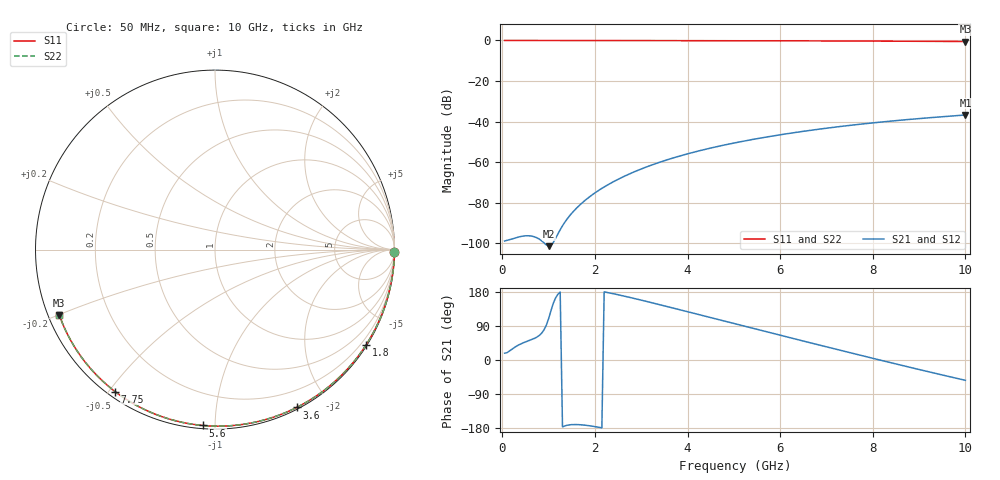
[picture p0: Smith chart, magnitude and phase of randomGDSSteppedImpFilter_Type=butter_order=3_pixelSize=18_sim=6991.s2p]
! freq	dB(S11)	phase(S11)	dB(S12)	phase(S12)
!  dB(S21)	phase(S21)	dB(S22)	phase(S22)
!S-par simulation data
#  GHz  S  DB  R 50
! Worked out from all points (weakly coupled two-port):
!   200 points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, 50 MHz to 10 GHz, reference 50 ohm
!   highest |S21| = -36.71 dB at 10 GHz (marker M1); lowest = -101.3 dB at 1 GHz (marker M2)
!   lowest |S11| = -0.5 dB at 10 GHz (marker M3), VSWR 32.88, Z = 1.58 - j10.1 ohm
!   |S11| at or under -10 dB: nowhere
!   |S22| runs from -0.5 to 0.0 dB; largest |S21 - S12| = 0
!   S11 on the Smith chart (normalised r, x): 50 MHz: open; 1.8 GHz: 0.03, -3.47; 3.6 GHz: 0.02, -1.64; 5.6 GHz: 0.02, -0.93; 7.75 GHz: 0.02, -0.52; 10 GHz: 0.03, -0.20
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0.05  -0.00 -0.9  -98.78 18.0  -98.78 18.0  -0.00 -0.9
0.5  -0.01 -9.1  -96.23 47.6  -96.23 47.6  -0.01 -9.1
1  -0.02 -18.0  -101.32 108.9  -101.32 108.9  -0.02 -18.0
1.7  -0.04 -30.4  -80.48 -171.0  -80.48 -171.0  -0.04 -30.4
1.75  -0.04 -31.3  -79.47 -171.5  -79.47 -171.5  -0.04 -31.3
1.8  -0.04 -32.2  -78.52 -172.2  -78.52 -172.2  -0.04 -32.2
1.95  -0.04 -34.8  -75.90 -174.7  -75.90 -174.7  -0.04 -34.8
2.1  -0.05 -37.4  -73.57 -177.9  -73.57 -177.9  -0.05 -37.4
2.3  -0.05 -40.8  -70.82 177.4  -70.82 177.4  -0.05 -40.8
2.5  -0.06 -44.2  -68.39 172.2  -68.39 172.2  -0.06 -44.2
2.9  -0.07 -51.0  -64.22 160.9  -64.22 160.9  -0.07 -51.0
3.4  -0.08 -59.3  -59.97 145.9  -59.97 145.9  -0.08 -59.3
3.6  -0.08 -62.6  -58.50 139.8  -58.50 139.8  -0.08 -62.6
4.3  -0.11 -73.9  -54.08 118.0  -54.08 118.0  -0.11 -73.9
5.05  -0.13 -85.6  -50.30 94.6  -50.30 94.6  -0.13 -85.6
5.6  -0.16 -93.9  -47.98 77.6  -47.98 77.6  -0.16 -93.9
6.15  -0.18 -102.1  -45.93 60.7  -45.93 60.7  -0.18 -102.1
6.7  -0.22 -110.1  -44.12 43.9  -44.12 43.9  -0.22 -110.1
7.75  -0.29 -125.1  -41.20 12.0  -41.20 12.0  -0.29 -125.1
8.35  -0.34 -133.6  -39.80 -6.0  -39.80 -6.0  -0.34 -133.6
9.2  -0.43 -145.7  -38.10 -30.9  -38.10 -30.9  -0.43 -145.7
10  -0.53 -157.2  -36.71 -53.6  -36.71 -53.6  -0.53 -157.2
